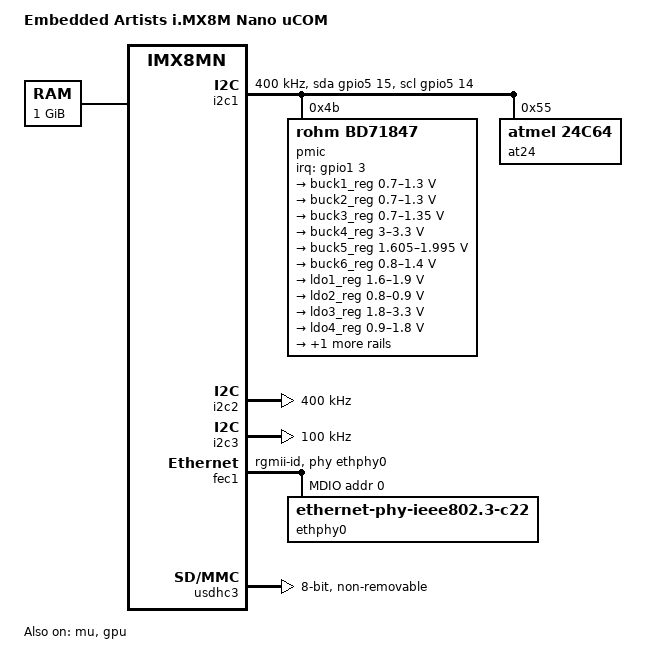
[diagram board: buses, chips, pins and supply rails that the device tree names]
/*
 * Copyright 2020 Embedded Artists AB
 *
 * This program is free software; you can redistribute it and/or
 * modify it under the terms of the GNU General Public License
 * as published by the Free Software Foundation; either version 2
 * of the License, or (at your option) any later version.
 *
 * This program is distributed in the hope that it will be useful,
 * but WITHOUT ANY WARRANTY; without even the implied warranty of
 * MERCHANTABILITY or FITNESS FOR A PARTICULAR PURPOSE.  See the
 * GNU General Public License for more details.
 */

/dts-v1/;

#include "imx8mn.dtsi"

/ {
	model = "Embedded Artists i.MX8M Nano uCOM";
	compatible = "fsl,imx8mnea-ucom", "fsl,imx8mn";

	memory@40000000 {
		device_type = "memory";
		reg = <0x0 0x40000000 0 0x40000000>;
	};
};


&iomuxc {
	pinctrl-names = "default";

	imx8mnea-ucom {

		pinctrl_fec1: fec1grp {
			fsl,pins = <
				MX8MN_IOMUXC_ENET_MDC_ENET1_MDC		0x3
				MX8MN_IOMUXC_ENET_MDIO_ENET1_MDIO	0x3
				MX8MN_IOMUXC_ENET_TD3_ENET1_RGMII_TD3	0x18
				MX8MN_IOMUXC_ENET_TD2_ENET1_RGMII_TD2	0x18
				MX8MN_IOMUXC_ENET_TD1_ENET1_RGMII_TD1	0x18
				MX8MN_IOMUXC_ENET_TD0_ENET1_RGMII_TD0	0x18
				MX8MN_IOMUXC_ENET_RD3_ENET1_RGMII_RD3	0x91
				MX8MN_IOMUXC_ENET_RD2_ENET1_RGMII_RD2	0x91
				MX8MN_IOMUXC_ENET_RD1_ENET1_RGMII_RD1	0x91
				MX8MN_IOMUXC_ENET_RD0_ENET1_RGMII_RD0	0x91
				MX8MN_IOMUXC_ENET_TXC_ENET1_RGMII_TXC	0x1f
				MX8MN_IOMUXC_ENET_RXC_ENET1_RGMII_RXC	0x91
				MX8MN_IOMUXC_ENET_RX_CTL_ENET1_RGMII_RX_CTL	0x91
				MX8MN_IOMUXC_ENET_TX_CTL_ENET1_RGMII_TX_CTL	0x1f
				MX8MN_IOMUXC_NAND_READY_B_GPIO3_IO16	0x142 /* PullEnable, PullUp, DSE=X4 - was 0x19*/
			>;
		};

		pinctrl_i2c1: i2c1grp {
			fsl,pins = <
				MX8MN_IOMUXC_I2C1_SCL_I2C1_SCL			0x400001c3
				MX8MN_IOMUXC_I2C1_SDA_I2C1_SDA			0x400001c3
			>;
		};

		pinctrl_i2c2: i2c2grp {
			fsl,pins = <
				MX8MN_IOMUXC_I2C2_SCL_I2C2_SCL			0x400001c3
				MX8MN_IOMUXC_I2C2_SDA_I2C2_SDA			0x400001c3
			>;
		};

		pinctrl_i2c3: i2c3grp {
			fsl,pins = <
				MX8MN_IOMUXC_I2C3_SCL_I2C3_SCL			0x400001c3
				MX8MN_IOMUXC_I2C3_SDA_I2C3_SDA			0x400001c3
			>;
		};

		pinctrl_i2c1_gpio: i2c1grp-gpio {
			fsl,pins = <
				MX8MN_IOMUXC_I2C1_SCL_GPIO5_IO14		0x1c3
				MX8MN_IOMUXC_I2C1_SDA_GPIO5_IO15		0x1c3
			>;
		};

		pinctrl_pmic: pmicirq {
			fsl,pins = <
				MX8MN_IOMUXC_GPIO1_IO03_GPIO1_IO3		0x41
			>;
		};

		pinctrl_usdhc3: usdhc3grp {
			fsl,pins = <
				MX8MN_IOMUXC_NAND_WE_B_USDHC3_CLK		0x190
				MX8MN_IOMUXC_NAND_WP_B_USDHC3_CMD		0x1d0
				MX8MN_IOMUXC_NAND_DATA04_USDHC3_DATA0		0x1d0
				MX8MN_IOMUXC_NAND_DATA05_USDHC3_DATA1		0x1d0
				MX8MN_IOMUXC_NAND_DATA06_USDHC3_DATA2		0x1d0
				MX8MN_IOMUXC_NAND_DATA07_USDHC3_DATA3		0x1d0
				MX8MN_IOMUXC_NAND_RE_B_USDHC3_DATA4		0x1d0
				MX8MN_IOMUXC_NAND_CE2_B_USDHC3_DATA5		0x1d0
				MX8MN_IOMUXC_NAND_CE3_B_USDHC3_DATA6		0x1d0
				MX8MN_IOMUXC_NAND_CLE_USDHC3_DATA7		0x1d0
				MX8MN_IOMUXC_NAND_CE1_B_USDHC3_STROBE		0x190
			>;
		};

		pinctrl_usdhc3_100mhz: usdhc3grp100mhz {
			fsl,pins = <
				MX8MN_IOMUXC_NAND_WE_B_USDHC3_CLK		0x194
				MX8MN_IOMUXC_NAND_WP_B_USDHC3_CMD		0x1d4
				MX8MN_IOMUXC_NAND_DATA04_USDHC3_DATA0		0x1d4
				MX8MN_IOMUXC_NAND_DATA05_USDHC3_DATA1		0x1d4
				MX8MN_IOMUXC_NAND_DATA06_USDHC3_DATA2		0x1d4
				MX8MN_IOMUXC_NAND_DATA07_USDHC3_DATA3		0x1d4
				MX8MN_IOMUXC_NAND_RE_B_USDHC3_DATA4		0x1d4
				MX8MN_IOMUXC_NAND_CE2_B_USDHC3_DATA5		0x1d4
				MX8MN_IOMUXC_NAND_CE3_B_USDHC3_DATA6		0x1d4
				MX8MN_IOMUXC_NAND_CLE_USDHC3_DATA7		0x1d4
				MX8MN_IOMUXC_NAND_CE1_B_USDHC3_STROBE		0x194
			>;
		};

		pinctrl_usdhc3_200mhz: usdhc3grp200mhz {
			fsl,pins = <
				MX8MN_IOMUXC_NAND_WE_B_USDHC3_CLK		0x196
				MX8MN_IOMUXC_NAND_WP_B_USDHC3_CMD		0x1d6
				MX8MN_IOMUXC_NAND_DATA04_USDHC3_DATA0		0x1d6
				MX8MN_IOMUXC_NAND_DATA05_USDHC3_DATA1		0x1d6
				MX8MN_IOMUXC_NAND_DATA06_USDHC3_DATA2		0x1d6
				MX8MN_IOMUXC_NAND_DATA07_USDHC3_DATA3		0x1d6
				MX8MN_IOMUXC_NAND_RE_B_USDHC3_DATA4		0x1d6
				MX8MN_IOMUXC_NAND_CE2_B_USDHC3_DATA5		0x1d6
				MX8MN_IOMUXC_NAND_CE3_B_USDHC3_DATA6		0x1d6
				MX8MN_IOMUXC_NAND_CLE_USDHC3_DATA7		0x1d6
				MX8MN_IOMUXC_NAND_CE1_B_USDHC3_STROBE		0x196
			>;
		};

	};
};

&i2c1 {
	clock-frequency = <400000>;
	pinctrl-names = "default";
	pinctrl-0 = <&pinctrl_i2c1>;
	pinctrl-1 = <&pinctrl_i2c1_gpio>;
	scl-gpios = <&gpio5 14 GPIO_ACTIVE_HIGH>;
	sda-gpios = <&gpio5 15 GPIO_ACTIVE_HIGH>;
	status = "okay";

	pmic: bd71837@4b {
		compatible = "rohm,bd71847";
		reg = <0x4b>;
		pinctrl-0 = <&pinctrl_pmic>;
		interrupt-parent = <&gpio1>;
		interrupts = <3 GPIO_ACTIVE_LOW>;
		rohm,reset-snvs-powered;

		regulators {
			buck1_reg: BUCK1 {
				regulator-name = "BUCK1";
				regulator-min-microvolt = <700000>;
				regulator-max-microvolt = <1300000>;
				regulator-boot-on;
				regulator-always-on;
				regulator-ramp-delay = <1250>;
			};

			buck2_reg: BUCK2 {
				regulator-name = "BUCK2";
				regulator-min-microvolt = <700000>;
				regulator-max-microvolt = <1300000>;
				regulator-boot-on;
				regulator-always-on;
				regulator-ramp-delay = <1250>;
				rohm,dvs-run-voltage = <1000000>;
				rohm,dvs-idle-voltage = <900000>;
			};

			buck3_reg: BUCK3 {
				// BUCK5 in datasheet
				regulator-name = "BUCK3";
				regulator-min-microvolt = <700000>;
				regulator-max-microvolt = <1350000>;
				regulator-boot-on;
				regulator-always-on;
			};

			buck4_reg: BUCK4 {
				// BUCK6 in datasheet
				regulator-name = "BUCK4";
				regulator-min-microvolt = <3000000>;
				regulator-max-microvolt = <3300000>;
				regulator-boot-on;
				regulator-always-on;
			};

			buck5_reg: BUCK5 {
				// BUCK7 in datasheet
				regulator-name = "BUCK5";
				regulator-min-microvolt = <1605000>;
				regulator-max-microvolt = <1995000>;
				regulator-boot-on;
				regulator-always-on;				
			};

			buck6_reg: BUCK6 {
				// BUCK8 in datasheet
				regulator-name = "BUCK6";
				regulator-min-microvolt = <800000>;
				regulator-max-microvolt = <1400000>;
				regulator-boot-on;
				regulator-always-on;
			};

			ldo1_reg: LDO1 {
				regulator-name = "LDO1";
				regulator-min-microvolt = <1600000>;
				regulator-max-microvolt = <1900000>;
				regulator-boot-on;
				regulator-always-on;
			};

			ldo2_reg: LDO2 {
				regulator-name = "LDO2";
				regulator-min-microvolt = <800000>;
				regulator-max-microvolt = <900000>;
				regulator-boot-on;
				regulator-always-on;
			};

			ldo3_reg: LDO3 {
				regulator-name = "LDO3";
				regulator-min-microvolt = <1800000>;
				regulator-max-microvolt = <3300000>;
				regulator-boot-on;
				regulator-always-on;
			};

			ldo4_reg: LDO4 {
				regulator-name = "LDO4";
				regulator-min-microvolt = <900000>;
				regulator-max-microvolt = <1800000>;
				regulator-boot-on;
				regulator-always-on;
			};

			ldo6_reg: LDO6 {
				regulator-name = "LDO6";
				regulator-min-microvolt = <900000>;
				regulator-max-microvolt = <1800000>;
				regulator-boot-on;
				regulator-always-on;
			};
		};
	};

	at24@55 {
		compatible = "atmel,24c64";
		pagesize = <32>;
		reg = <0x55>;
		read-only;
	};
};

&i2c2 {
	clock-frequency = <400000>;
	pinctrl-names = "default";
	pinctrl-0 = <&pinctrl_i2c2>;
	status = "okay";
};

&i2c3 {
	clock-frequency = <100000>;
	pinctrl-names = "default";
	pinctrl-0 = <&pinctrl_i2c3>;
	status = "okay";
};

&mu {
	status = "okay";
};

&fec1 {
	pinctrl-names = "default";
	pinctrl-0 = <&pinctrl_fec1>;
	phy-mode = "rgmii-id";
	phy-handle = <&ethphy0>;
	fsl,magic-packet;
	status = "okay";

	mdio {
		#address-cells = <1>;
		#size-cells = <0>;

		ethphy0: ethernet-phy@0 {
			compatible = "ethernet-phy-ieee802.3-c22";
			reg = <0>;

			/* Properties for the Atheros PHY */
			at803x,led-act-blind-workaround;
			at803x,eee-okay;
			at803x,vddio-1p8v;

			/* Properties for the Realtek PHY */
			rtl821x,aldps-disable;
			rtl821x,clkout-disable;

			/* Properties applied to both PHYs but only needed for Realtek PHY*/
			rx-internal-delay-ps = <2000>;
			tx-internal-delay-ps = <2000>;
			eee-broken-1000t;
		};
	};
};

/* eMMC */
&usdhc3 {
	pinctrl-names = "default", "state_100mhz", "state_200mhz";
	pinctrl-0 = <&pinctrl_usdhc3>;
	pinctrl-1 = <&pinctrl_usdhc3_100mhz>;
	pinctrl-2 = <&pinctrl_usdhc3_200mhz>;
	bus-width = <8>;
	non-removable;
	status = "okay";
};

&A53_0 {
	cpu-supply = <&buck2_reg>;
};

&A53_1 {
	cpu-supply = <&buck2_reg>;
};

&A53_2 {
	cpu-supply = <&buck2_reg>;
};

&A53_3 {
	cpu-supply = <&buck2_reg>;
};

&gpu {
	status = "okay";
};

